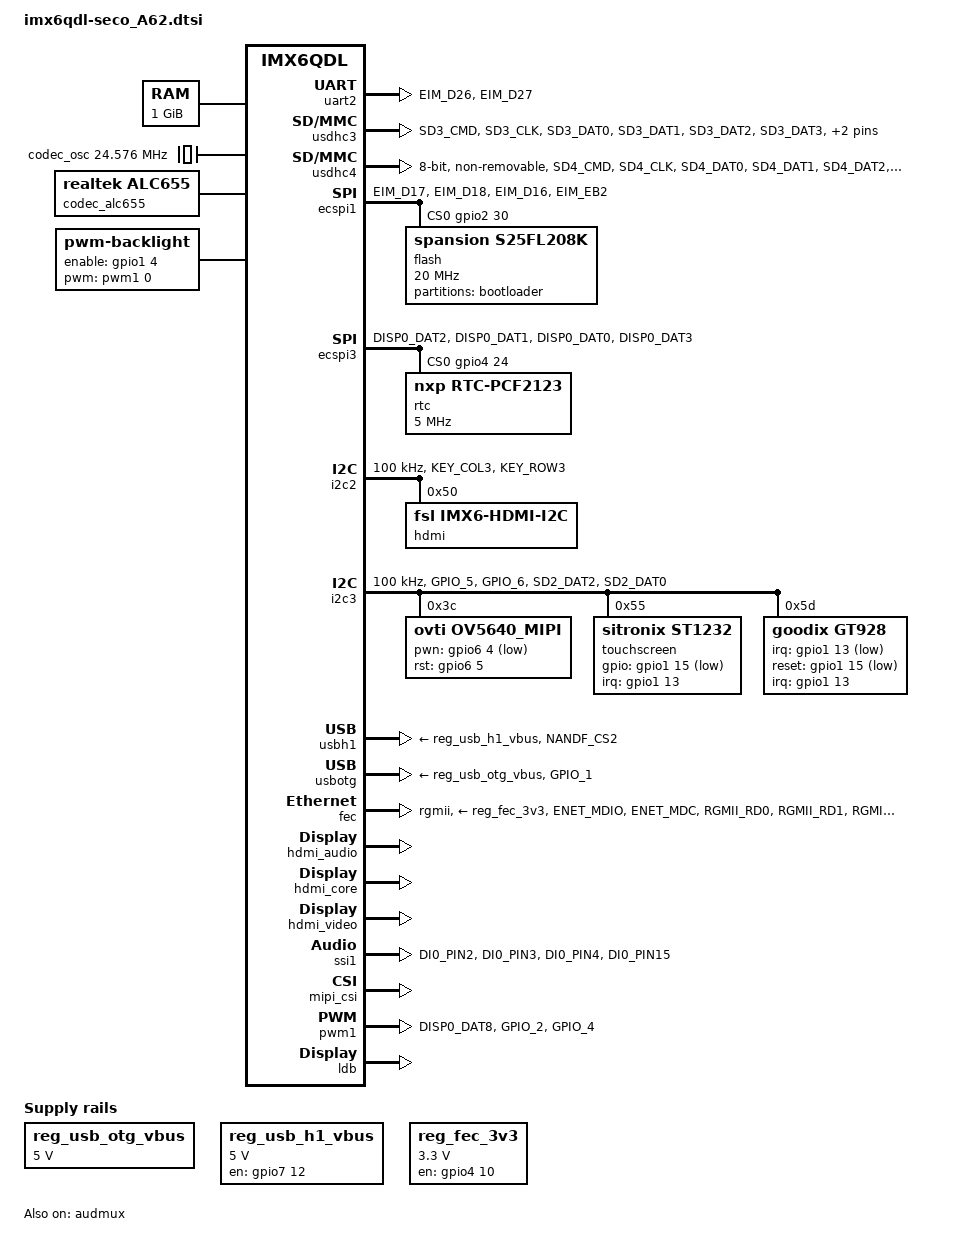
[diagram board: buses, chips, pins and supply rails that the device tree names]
/*
 * Copyright 2012 Freescale Semiconductor, Inc.
 * Copyright 2011 Linaro Ltd.
 *
 * The code contained herein is licensed under the GNU General Public
 * License. You may obtain a copy of the GNU General Public License
 * Version 2 or later at the following locations:
 *
 * http://www.opensource.org/licenses/gpl-license.html
 * http://www.gnu.org/copyleft/gpl.html
 */

// #include <dt-bindings/input/input.h>
// #include <dt-bindings/seco/ectrl.h>
#include <dt-bindings/interrupt-controller/irq.h>


/ {
        aliases {
                mmc0 = &usdhc4;   /* eMMC */ /* check an appropriate alias for eMMC and uSD on your board */ 
		mmc1 = &usdhc3;   /* uSD */  /* or make changes in files: a62_6dq.mk and fstab.freescale for appropriate mmcblkX*/  
                mxcfb0 = &mxcfb1;
		mxcfb1 = &mxcfb2;
	};

	memory {
		reg = <0x10000000 0x40000000>;
	};

	clocks {
		codec_osc: anaclk2 {
			compatible = "fixed-clock";
			#clock-cells = <0>;
			clock-frequency = <24576000>;
		};
	};

	regulators {
		compatible = "simple-bus";
		#address-cells = <1>;
		#size-cells = <0>;

		reg_usb_otg_vbus: regulator@0 {
			compatible = "regulator-fixed";
			reg = <0>;
			regulator-name = "usb_otg_vbus";
			regulator-min-microvolt = <5000000>;
			regulator-max-microvolt = <5000000>;
		};

		reg_usb_h1_vbus: regulator@1 {
			compatible = "regulator-fixed";
			reg = <1>;
			regulator-name = "usb_h1_vbus";
			regulator-min-microvolt = <5000000>;
			regulator-max-microvolt = <5000000>;
			gpio = <&gpio7 12 GPIO_ACTIVE_HIGH>;
                        enable-active-high;
		};

		reg_fec_3v3: regulator@2 {
			compatible = "regulator-fixed";
			reg = <2>;
			regulator-name = "fec-3v3";
			regulator-min-microvolt = <3300000>;
			regulator-max-microvolt = <3300000>;
			gpio = <&gpio4 10 GPIO_ACTIVE_HIGH>;
			enable-active-high;
		};

		reg_lcd0_pwr: regulator@3 {
			compatible = "regulator-fixed", "udoo,lvds-power";
			reg = <3>;
			regulator-name = "LCD0 POWER";
			regulator-min-microvolt = <3300000>;
			regulator-max-microvolt = <3300000>;
			gpio = <&gpio1 2 GPIO_ACTIVE_HIGH>;
			enable-active-high;
			regulator-boot-on;
			regulator-always-on;
			status = "disabled";
		};

	};

/*  __________________________________________________________________________
 * |____________________________ AUDIO ALC655 ________________________________|
 */
    codec_alc655: codec_alc655 {
		compatible = "realtek,alc655";
		status     = "okay";
	};

	sound_alc655: sound_alc655 {
		compatible     = "fsl,alc655-audio";
		model          = "fsl,alc655-audio";
		ssi-controller = <&ssi1>;
		audio-codec    = <&codec_alc655>;
		mux-int-port   = <1>;
		mux-ext-port   = <6>;
		status         = "okay";
	};

	sound-hdmi {
		compatible = "fsl,imx6q-audio-hdmi",
			     "fsl,imx-audio-hdmi";
		model = "imx-audio-hdmi";
		hdmi-controller = <&hdmi_audio>;
	};

	mxcfb1: fb@0 {
		compatible = "fsl,mxc_sdc_fb";
		disp_dev = "ldb";
		/* interface_pix_fmt = "RGB24"; // For 10' display */
		interface_pix_fmt = "RGB666";
		mode_str = "LDB-WVGA";
		default_bpp = <16>;
		int_clk = <0>;
		late_init = <0>;
		status = "disabled";
	};

	mxcfb2: fb@1 {
		compatible = "fsl,mxc_sdc_fb";
		disp_dev = "hdmi";
		interface_pix_fmt = "RGB24";
		mode_str ="1920x1080M@60";
		default_bpp = <24>;
		int_clk = <0>;
		late_init = <0>;
		status = "disabled";
	};	

	backlight {
		compatible = "pwm-backlight";
		pwms = <&pwm1 0 1000000>;
		brightness-levels = <
			 0  1  2  3  4  5  6  7  8  9
			10 11 12 13 14 15 16 17 18 19
			20 21 22 23 24 25 26 27 28 29
			30 31 32 33 34 35 36 37 38 39
			40 41 42 43 44 45 46 47 48 49
			50 51 52 53 54 55 56 57 58 59
			60 61 62 63 64 65 66 67 68 69
			70 71 72 73 74 75 76 77 78 79
			80 81 82 83 84 85 86 87 88 89
			90 91 92 93 94 95 96 97 98 99
			100
			>;
		default-brightness-level = <94>;
		enable-gpios = <&gpio1 4 GPIO_ACTIVE_HIGH>;
		status = "okay";
	};

	v4l2_cap_0 {
		compatible = "fsl,imx6q-v4l2-capture";
		ipu_id = <0>;
		csi_id = <0>;
		mclk_source = <0>;
		status = "okay";
	};

	v4l2_cap_1 {
		compatible = "fsl,imx6q-v4l2-capture";
		ipu_id = <0>;
		csi_id = <1>;
		mclk_source = <0>;
		status = "okay";
	};

	v4l2_out {
		compatible = "fsl,mxc_v4l2_output";
		status = "okay";
	};

	/*mipi_dsi_reset: mipi-dsi-reset {
		compatible = "gpio-reset";
		reset-gpios = <&gpio6 11 GPIO_ACTIVE_LOW>;
		reset-delay-us = <50>; 
		#reset-cells = <0>;
	};*/
	
};

/*  __________________________________________________________________________
 * |                                                                          |
 * |                                    IOMUX                                 |
 * |__________________________________________________________________________|
 */
&iomuxc {
	pinctrl-names = "default";
	pinctrl-0 = <&pinctrl_hog>;

	imx6qdl-A62 {

		pinctrl_hog: hoggrp {
			fsl,pins = <
				MX6QDL_PAD_GPIO_17__GPIO7_IO12    	0x80000000	/*USB-HUB reset*/				
				
				MX6QDL_PAD_SD1_DAT0__GPIO1_IO16   	0x80000000	/*GPIO*/
				MX6QDL_PAD_SD1_DAT1__GPIO1_IO17   	0x80000000	/*GPIO*/
				MX6QDL_PAD_SD1_CMD__GPIO1_IO18	  	0x80000000	/*GPIO*/
				MX6QDL_PAD_SD1_DAT2__GPIO1_IO19   	0x80000000	/*GPIO*/
				MX6QDL_PAD_SD1_CLK__GPIO1_IO20	  	0x80000000	/*GPIO*/
				MX6QDL_PAD_SD1_DAT3__GPIO1_IO21   	0x80000000	/*GPIO*/
				MX6QDL_PAD_NANDF_CS1__GPIO6_IO14  	0x80000000	/*GPIO*/

				MX6QDL_PAD_NANDF_D4__GPIO2_IO04	  	0x80000000	/* ON_OFF */
				MX6QDL_PAD_NANDF_D3__GPIO2_IO03   	0x80000000      /* POWER ON */
				MX6QDL_PAD_NANDF_WP_B__GPIO6_IO09 	0x80000000	/*GPIO*/
				MX6QDL_PAD_GPIO_18__GPIO7_IO13	  	0x80000000	/*GPIO*/
				MX6QDL_PAD_GPIO_19__GPIO4_IO05	  	0x80000000	/*GPIO*/				
				MX6QDL_PAD_GPIO_7__GPIO1_IO07	  	0x80000000	/*GPIO*/
				MX6QDL_PAD_GPIO_8__GPIO1_IO08	  	0x80000000      /*GPIO*/

				MX6QDL_PAD_GPIO_0__GPIO1_IO00     	0x80000000    	/* EXP_GPIO_27  */
				MX6QDL_PAD_CSI0_DAT4__GPIO5_IO22  	0x80000000    	/* EXP_GPIO_28  */
				//MX6QDL_PAD_SD2_DAT2__GPIO1_IO13   	0x80000000      /* touch interrupt */
				//MX6QDL_PAD_SD2_DAT0__GPIO1_IO15   	0x80000000      /* touch reset */
				MX6QDL_PAD_KEY_COL2__GPIO4_IO10   	0x80000000      /* Ethernet Power on */

				MX6QDL_PAD_ENET_TX_EN__GPIO1_IO28       0x80000000       /*  Phy Interrupt  */
				MX6QDL_PAD_CSI0_DAT18__GPIO6_IO04 	0x1f071      /* Camera Power Enable */
				MX6QDL_PAD_CSI0_DAT19__GPIO6_IO05 	0x1f071	/* Camera Reset */
				MX6QDL_PAD_CSI0_MCLK__CCM_CLKO1			0x130b0		// CSI master clock (CN11)

				MX6QDL_PAD_NANDF_CS0__GPIO6_IO11  	0x80000000    	/* SATA led activity */ 	
				MX6QDL_PAD_EIM_A25__GPIO5_IO02    	0x80000000     	/* HDMI - check */
				//MX6QDL_PAD_EIM_D30__USB_H1_OC     	0x80000000     	/*USB Over Current*/
				MX6QDL_PAD_CSI0_DAT9__GPIO5_IO27	0x80000000     	/*WIFI Tx antenna enable*/	
				
			>;
		};
/*  __________________________________________________________________________
 * |________________________________ PWM ____________________________________|
 */
		pinctrl_pwm_bl: pwm_blgrp {
			fsl,pins = <
				MX6QDL_PAD_DISP0_DAT8__PWM1_OUT		0x1b0b1
				MX6QDL_PAD_GPIO_2__GPIO1_IO02     	0x80000000   /*panel ON*/
				MX6QDL_PAD_GPIO_4__GPIO1_IO04     	0x80000000   /*BL ON*/
			>;
		};

/*  __________________________________________________________________________
 * |________________________________ UART ____________________________________|
 */
		pinctrl_uart2: uart2grp {
			fsl,pins = <
				MX6QDL_PAD_EIM_D26__UART2_TX_DATA	0x1b0b1   
				MX6QDL_PAD_EIM_D27__UART2_RX_DATA	0x1b0b1   
			>;
		};


/*  __________________________________________________________________________
 * |_________________________________ I2C ____________________________________|
 */

		pinctrl_i2c2: i2c2grp {
			fsl,pins = <
				MX6QDL_PAD_KEY_COL3__I2C2_SCL 0x4001b8b1
				MX6QDL_PAD_KEY_ROW3__I2C2_SDA 0x4001b8b1
			>;
		};
		
		pinctrl_i2c3: i2c3grp {
			fsl,pins = <
				MX6QDL_PAD_GPIO_5__I2C3_SCL             0x4001b8b1
				MX6QDL_PAD_GPIO_6__I2C3_SDA             0x4001b8b1

				MX6QDL_PAD_SD2_DAT2__GPIO1_IO13   	0x80000000       /*touch interrupt*/ 
				MX6QDL_PAD_SD2_DAT0__GPIO1_IO15   	0x80000000       /* touch reset */ 
			>;
		};
/*  __________________________________________________________________________
 * |_________________________________ SPI ____________________________________|
 */
		pinctrl_ecspi1: ecspi1grp {
			fsl,pins = <
				MX6QDL_PAD_EIM_D17__ECSPI1_MISO         0x100b1   
				MX6QDL_PAD_EIM_D18__ECSPI1_MOSI         0x100b1  
				MX6QDL_PAD_EIM_D16__ECSPI1_SCLK         0x100b1  
				/*  CS SPI 1  */
				MX6QDL_PAD_EIM_EB2__GPIO2_IO30          0x80000000  

			>;
		};
		
		pinctrl_ecspi3: ecspi3grp {
			fsl,pins = <
			        MX6QDL_PAD_DISP0_DAT2__ECSPI3_MISO      0x100b1
				MX6QDL_PAD_DISP0_DAT1__ECSPI3_MOSI      0x100b1
				MX6QDL_PAD_DISP0_DAT0__ECSPI3_SCLK      0x100b1
				/*  CS SPI 2  */
				MX6QDL_PAD_DISP0_DAT3__GPIO4_IO24       0x80000000
			>;
		};
/*  __________________________________________________________________________
 * |________________________________ USDHC ___________________________________|
 */
		pinctrl_usdhc3: usdhc3grp {
			fsl,pins = <
				MX6QDL_PAD_SD3_CMD__SD3_CMD		0x17059
				MX6QDL_PAD_SD3_CLK__SD3_CLK		0x10059
				MX6QDL_PAD_SD3_DAT0__SD3_DATA0		0x17059
				MX6QDL_PAD_SD3_DAT1__SD3_DATA1		0x17059
				MX6QDL_PAD_SD3_DAT2__SD3_DATA2		0x17059
				MX6QDL_PAD_SD3_DAT3__SD3_DATA3		0x17059
				MX6QDL_PAD_NANDF_D5__GPIO2_IO05         0x17059  
			>;
		};

		pinctrl_usdhc4: usdhc4grp {
			fsl,pins = <
				MX6QDL_PAD_SD4_CMD__SD4_CMD		0x17059
				MX6QDL_PAD_SD4_CLK__SD4_CLK		0x10059
				MX6QDL_PAD_SD4_DAT0__SD4_DATA0		0x17059
				MX6QDL_PAD_SD4_DAT1__SD4_DATA1		0x17059
				MX6QDL_PAD_SD4_DAT2__SD4_DATA2		0x17059
				MX6QDL_PAD_SD4_DAT3__SD4_DATA3		0x17059
				MX6QDL_PAD_SD4_DAT4__SD4_DATA4		0x17059
				MX6QDL_PAD_SD4_DAT5__SD4_DATA5		0x17059
				MX6QDL_PAD_SD4_DAT6__SD4_DATA6		0x17059
				MX6QDL_PAD_SD4_DAT7__SD4_DATA7		0x17059
				MX6QDL_PAD_NANDF_D7__GPIO2_IO07         0x1f071 
			>;
		};


/*  __________________________________________________________________________
 * |______________________________ ETHERNET __________________________________|
 */
		pinctrl_enet: enetgrp {
			fsl,pins = <
				MX6QDL_PAD_ENET_MDIO__ENET_MDIO		0x1b0b0
				MX6QDL_PAD_ENET_MDC__ENET_MDC		0x1b0b0
				MX6QDL_PAD_RGMII_RD0__RGMII_RD0		0x1b0b0
				MX6QDL_PAD_RGMII_RD1__RGMII_RD1		0x1b0b0
				MX6QDL_PAD_RGMII_RD2__RGMII_RD2		0x1b0b0
				MX6QDL_PAD_RGMII_RD3__RGMII_RD3		0x1b0b0
				MX6QDL_PAD_RGMII_TD0__RGMII_TD0		0x1b0b0
				MX6QDL_PAD_RGMII_TD1__RGMII_TD1		0x1b0b0
				MX6QDL_PAD_RGMII_TD2__RGMII_TD2		0x1b0b0
				MX6QDL_PAD_RGMII_TD3__RGMII_TD3		0x1b0b0
				MX6QDL_PAD_RGMII_TX_CTL__RGMII_TX_CTL	0x1b0b0
				MX6QDL_PAD_RGMII_RXC__RGMII_RXC		0x1b0b0
				MX6QDL_PAD_RGMII_TXC__RGMII_TXC		0x1b0b0
				MX6QDL_PAD_ENET_REF_CLK__ENET_TX_CLK	0x1b0b0
				MX6QDL_PAD_EIM_D23__GPIO3_IO23          0x80000000
			>;
		};

		phy_running: phy_runningrp {
			fsl,pins = <
				MX6QDL_PAD_RGMII_RX_CTL__RGMII_RX_CTL	0x1b0b0
			>;
		};
      
		phy_reset: phy_resetgrp {
			fsl,pins = <
				MX6QDL_PAD_RGMII_RX_CTL__GPIO6_IO24	0x80000000
			>;
		};
/*  __________________________________________________________________________
 * |__________________________________ USB ___________________________________|
 */
		pinctrl_usbh1: usbh1grp {
			fsl,pins = <
				MX6QDL_PAD_NANDF_CS2__CCM_CLKO2         0x130b0
			>;
		};

		pinctrl_usbotg: usbotggrp {
			fsl,pins = <
				MX6QDL_PAD_GPIO_1__USB_OTG_ID 		0x17059
			>;
		};

/*  __________________________________________________________________________
 * |_____________________________ AUDIO AC97 _________________________________|
 */
		ac97link_running: ac97link_runninggrp {
			fsl,pins = <
				MX6QDL_PAD_DI0_PIN2__AUD6_TXD                0x130b0
				MX6QDL_PAD_DI0_PIN3__AUD6_TXFS               0x130b0
				MX6QDL_PAD_DI0_PIN4__AUD6_RXD                0x130b0
				MX6QDL_PAD_DI0_PIN15__AUD6_TXC               0x130b0
			 >;
		};

		ac97link_reset: ac97link_resetgrp {
			fsl,pins = <
				/*  AUD_SYNC  */
				MX6QDL_PAD_DI0_PIN3__GPIO4_IO19              0x1f071
				/*  AUD_SDO  */
				MX6QDL_PAD_DI0_PIN2__GPIO4_IO18              0x1f071
				/*  RESET  */
				MX6QDL_PAD_EIM_EB3__GPIO2_IO31               0x1f071
			>;
		};

		ac97link_warm_reset: ac97link_warm_resetgrp {
			fsl,pins = <
				MX6QDL_PAD_DI0_PIN3__GPIO4_IO19              0x80000000
			>;
		};


		pinctrl_audmux: audmuxgrp {
			fsl,pins = <
				MX6QDL_PAD_DI0_PIN2__AUD6_TXD                0x130b0
				MX6QDL_PAD_DI0_PIN3__AUD6_TXFS               0x130b0
				MX6QDL_PAD_DI0_PIN4__AUD6_RXD                0x130b0
				MX6QDL_PAD_DI0_PIN15__AUD6_TXC               0x130b0
				MX6QDL_PAD_EIM_EB3__GPIO2_IO31               0x1f071
			>;
		};
	};
};

/*  __________________________________________________________________________
 * |                                                                          |
 * |                                    UART                                  |
 * |__________________________________________________________________________|
 */
&uart2 {
	pinctrl-names = "default";
	pinctrl-0 = <&pinctrl_uart2>;
	status = "okay";
};
/*  __________________________________________________________________________
 * |__________________________________________________________________________|
 */

/*  __________________________________________________________________________
 * |                                                                          |
 * |                                   USDHC                                  |
 * |__________________________________________________________________________|
 */

&usdhc3 {
        pinctrl-names = "default";
        pinctrl-0 = <&pinctrl_usdhc3>;
        cd-gpios = <&gpio7 0 0>;
        keep-power-in-suspend;
        enable-sdio-wakeup;
        no-1-8-v;
        status = "okay";
};

&usdhc4 {
        pinctrl-names = "default";
        pinctrl-0 = <&pinctrl_usdhc4>;
        bus-width = <8>;
        no-1-8-v;
        non-removable;
        keep-power-in-suspend;
        status = "okay";
};

/*  __________________________________________________________________________
 * |__________________________________________________________________________|
 */


/*  __________________________________________________________________________
 * |                                                                          |
 * |                            SPI INTERFACE/DEVICE                          |
 * |__________________________________________________________________________|
 */
&ecspi1 {
	fsl,spi-num-chipselects = <1>;
	cs-gpios = <&gpio2 30 0>;
	pinctrl-names = "default";
	pinctrl-0 = <&pinctrl_ecspi1>;
	status = "okay";

	flash: m25p80@0 {
	
		#address-cells = <1>;
		#size-cells = <0>;
 
		compatible = "spansion,s25fl208k";
		spi-max-frequency = <20000000>;
		reg = <0>;

		partition@0 {
			label = "bootloader";
			reg = <0x00000000 0x00004000>;
		};
       };
};

&ecspi3 {
	fsl,spi-num-chipselects = <1>;
	cs-gpios = <&gpio4 24  0>;
	pinctrl-names = "default";
	pinctrl-0 = <&pinctrl_ecspi3>;
	status = "okay";
        rtc: pcf2123@0 {
                compatible        = "nxp,rtc-pcf2123";
                spi-max-frequency = <5000000>;
                spi-cs-high;
                reg = <0>;
        };
};
/*  __________________________________________________________________________
 * |__________________________________________________________________________|
 */


/*  __________________________________________________________________________
 * |                                                                          |
 * |                            I2C INTERFACE/DEVICE                          |
 * |__________________________________________________________________________|
 */
&i2c2 {
	clock-frequency = <100000>;
	pinctrl-names = "default";
	pinctrl-0 = <&pinctrl_i2c2>; 
	status = "okay";
	
	hdmi: edid@50 {
		compatible = "fsl,imx6-hdmi-i2c";
		reg = <0x50>;
	};
};

&i2c3 {
	clock-frequency = <100000>;
	pinctrl-names = "default";
	pinctrl-0 = <&pinctrl_i2c3>;
	status = "okay";

	ov5640_mipi: ov5640_mipi@3c {
		compatible = "ovti,ov5640_mipi";
		reg = <0x3c>;
		clocks = <&clks IMX6QDL_CLK_CKO>;
		clock-names = "csi_mclk";
		pwn-gpios = <&gpio6 4 GPIO_ACTIVE_LOW>;
		rst-gpios = <&gpio6 5 GPIO_ACTIVE_HIGH>;
		csi_id = <0>;
		mclk = <24000000>;
		mclk_source = <0>;
	};

	touchscreen@55 {
 		compatible = "sitronix,st1232";
 		reg = <0x55>;
 		interrupt-parent = <&gpio1>;
 		interrupts = <13 IRQ_TYPE_LEVEL_LOW>;
 		gpios = <&gpio1 15 GPIO_ACTIVE_LOW>;
 	};

	gt928@5d {
		compatible       = "goodix,gt928";
		reg              = <0x5d>;
		touchscreen-inverted-y;
		interrupt-parent = <&gpio1>;
		interrupts       = <13 IRQ_TYPE_LEVEL_LOW>;
		irq-gpio         = <&gpio1 13 GPIO_ACTIVE_LOW>;
		reset-gpio       = <&gpio1 15 GPIO_ACTIVE_LOW>;
	};
};
/*  __________________________________________________________________________
 * |__________________________________________________________________________|
 */


/*  __________________________________________________________________________
 * |                                                                          |
 * |                                     USB                                  |
 * |__________________________________________________________________________|
 */
&usbh1 {	
	pinctrl-names = "default";
	pinctrl-0 = <&pinctrl_usbh1>;
        clocks = <&clks 201>;
	clock-names = "phy";
	vbus-supply = <&reg_usb_h1_vbus>;
	status = "okay";
};

&usbotg {	
	pinctrl-names = "default";
	pinctrl-0 = <&pinctrl_usbotg>;
	vbus-supply = <&reg_usb_otg_vbus>;
	disable-over-current;
	status = "okay";
};
/*  __________________________________________________________________________
 * |__________________________________________________________________________|
 */


/*  __________________________________________________________________________
 * |                                                                          |
 * |                                  ETHERNET                                |
 * |__________________________________________________________________________|
 */
&fec {
	status = "okay";
	pinctrl-names = "default", "phy-running", "phy-reset"; 
	pinctrl-0 = <&pinctrl_enet>;
	pinctrl-1 = <&phy_running>;
	pinctrl-2 = <&phy_reset>;
	phy-mode = "rgmii";
	phy-supply = <&reg_fec_3v3>;
	phy-gpios = <&gpio6 24 0 &gpio3 23 0>;
	fsl,magic-packet;
};
/*  __________________________________________________________________________
 * |__________________________________________________________________________|
 */


/*  __________________________________________________________________________
 * |                                                                          |
 * |                                 VIDEO OUTPUT                             |
 * |__________________________________________________________________________|
 */
&hdmi_audio {
	status = "okay";
};

&hdmi_core {
	ipu_id = <0>;
	disp_id = <0>;
	status = "okay";
};

&hdmi_video {
	fsl,phy_reg_vlev = <0x0294>;
	fsl,phy_reg_cksymtx = <0x800d>;
	status = "okay";
};

/*  __________________________________________________________________________
 * |                                                                          |
 * |                                    AUDIO                                 |
 * |__________________________________________________________________________|
 */
&ssi1 {
	fsl,mode      = "ac97-slave";
	pinctrl-names = "default", "ac97-running", "ac97-reset", "ac97-warm-reset";
	pinctrl-0     = <&ac97link_running>;
	pinctrl-1     = <&ac97link_running>;
	pinctrl-2     = <&ac97link_reset>;
	pinctrl-3     = <&ac97link_warm_reset>;
	/* sync, sdata (output), reset */
	ac97-gpios    = <&gpio4 19 0 &gpio4 18 0 &gpio2 31 0>;
	status        = "okay";
};

&audmux {
	status = "okay";
};

&mipi_csi {
   status = "okay";
   ipu_id = <0>;
   csi_id = <0>;
   v_channel = <0>;
   lanes = <2>;
};

&pwm1 {
	pinctrl-names = "default";
	pinctrl-0 = <&pinctrl_pwm_bl>;
	status = "okay";
};

&ldb {
	status = "okay";

	lvds-channel@0 {
		reg = <0>;
		fsl,data-mapping = "spwg";
		fsl,data-width = <18>;
		status = "okay";
		primary;
	};

	lvds-channel@1 {
		reg = <1>;
		fsl,data-mapping = "spwg";
		fsl,data-width = <18>;
		status = "disabled";
	};

};
/*  __________________________________________________________________________
 * |__________________________________________________________________________|
 */


